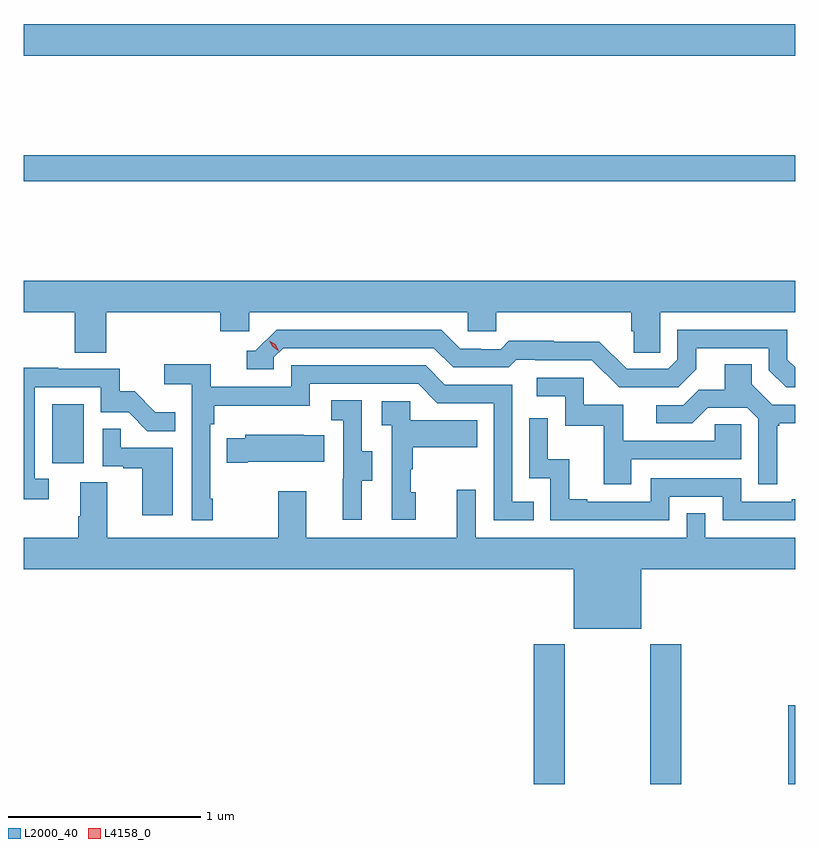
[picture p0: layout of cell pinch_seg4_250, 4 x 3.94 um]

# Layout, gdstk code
import gdstk
lib = gdstk.Library(unit=1e-6, precision=1e-09)
def R(c, l, rs):  # rectangles x0, y0, x1, y1
    for r in rs: c.add(gdstk.rectangle(r[:2], r[2:], *l))
def P(c, l, *ps):  # polygons
    for p in ps: c.add(gdstk.Polygon(p, *l))
L2000_40 = (2000, 40)
L4158_0 = (4158, 0)

pinch_seg4_250 = lib.new_cell('pinch_seg4_250')
R(pinch_seg4_250, L2000_40, [(953.699,810.358,953.859,811.084), (954.304,810.358,954.464,811.084), (955.019,810.358,955.054,810.766), (951.2,812.022,951.364,812.329), (951.054,813.484,955.054,813.62), (951.054,814.136,955.054,814.3)])
P(pinch_seg4_250, L2000_40, [(951.482,812.804),(952.073,812.804),(952.073,812.706),(952.224,812.706),(952.224,812.804),(953.355,812.804),(953.355,812.706),(953.505,812.706),(953.505,812.804),(954.203,812.804),(954.203,812.706),(954.217,812.706),(954.217,812.596),(954.354,812.596),(954.354,812.804),(955.054,812.804),(955.054,812.968),(951.054,812.968),(951.054,812.804),(951.317,812.804),(951.317,812.596),(951.482,812.596)],
  [(954.541,812.509),(954.541,812.619),(954.918,812.619),(954.918,812.505),(955.008,812.415),(955.054,812.415),(955.054,812.519),(955.014,812.559),(955.014,812.715),(954.444,812.715),(954.444,812.559),(954.396,812.511),(954.18,812.511),(954.038,812.653),(953.802,812.653),(953.802,812.656),(953.569,812.656),(953.527,812.613),(953.424,812.613),(953.424,812.616),(953.317,812.616),(953.218,812.715),(952.365,812.715),(952.254,812.604),(952.211,812.604),(952.211,812.508),(952.35,812.508),(952.35,812.571),(952.398,812.619),(953.181,812.619),(953.28,812.52),(953.569,812.52),(953.608,812.559),(953.707,812.559),(953.707,812.556),(954,812.556),(954.141,812.415),(954.447,812.415)],
  [(954.961,812.217),(954.973,812.217),(954.973,812.228),(955.054,812.228),(955.054,812.325),(954.936,812.325),(954.829,812.432),(954.829,812.534),(954.689,812.534),(954.689,812.402),(954.554,812.402),(954.474,812.322),(954.333,812.322),(954.333,812.229),(954.52,812.229),(954.601,812.31),(954.807,812.31),(954.864,812.253),(954.864,811.914),(954.961,811.914)],
  [(952.033,811.837),(952.02,811.837),(952.02,812.225),(952.04,812.225),(952.04,812.321),(952.536,812.321),(952.536,812.433),(953.1,812.433),(953.199,812.334),(953.49,812.334),(953.49,811.725),(953.699,811.725),(953.699,811.821),(953.586,811.821),(953.586,812.43),(953.236,812.43),(953.137,812.529),(952.44,812.529),(952.44,812.418),(952.022,812.418),(952.022,812.534),(951.783,812.534),(951.783,812.432),(951.924,812.432),(951.924,811.725),(952.033,811.725)],
  [(951.184,811.941),(951.111,811.941),(951.111,812.415),(951.453,812.415),(951.453,812.286),(951.597,812.286),(951.695,812.188),(951.839,812.188),(951.839,812.287),(951.735,812.287),(951.628,812.394),(951.552,812.394),(951.552,812.511),(951.233,812.511),(951.233,812.516),(951.054,812.516),(951.054,811.836),(951.184,811.836)],
  [(954.205,812.043),(954.774,812.043),(954.774,812.223),(954.637,812.223),(954.637,812.139),(954.163,812.139),(954.163,812.325),(953.958,812.325),(953.958,812.466),(953.715,812.466),(953.715,812.37),(953.862,812.37),(953.862,812.217),(954.061,812.217),(954.061,811.914),(954.205,811.914)],
  [(952.807,811.93),(952.861,811.93),(952.861,812.085),(952.806,812.085),(952.806,812.348),(952.647,812.348),(952.647,812.245),(952.71,812.245),(952.71,811.941),(952.709,811.941),(952.709,811.728),(952.807,811.728)],
  [(953.086,811.872),(953.061,811.872),(953.061,811.991),(953.071,811.991),(953.071,812.105),(953.405,812.105),(953.405,812.245),(953.058,812.245),(953.058,812.343),(952.911,812.343),(952.911,812.219),(952.962,812.219),(952.962,811.728),(953.086,811.728)],
  [(954.402,811.848),(954.678,811.848),(954.678,811.725),(955.054,811.725),(955.054,811.834),(955.037,811.834),(955.037,811.821),(954.774,811.821),(954.774,811.944),(954.306,811.944),(954.306,811.821),(953.977,811.821),(953.977,811.834),(953.882,811.834),(953.882,812.042),(953.772,812.042),(953.772,812.254),(953.676,812.254),(953.676,811.944),(953.784,811.944),(953.784,811.725),(954.402,811.725)],
  [(951.826,812.103),(951.557,812.103),(951.557,812.201),(951.462,812.201),(951.462,812.007),(951.569,812.007),(951.569,811.995),(951.668,811.995),(951.668,811.752),(951.826,811.752)],
  [(952.216,812.03),(952.613,812.03),(952.613,812.167),(952.505,812.167),(952.505,812.17),(952.203,812.17),(952.203,812.152),(952.105,812.152),(952.105,812.023),(952.216,812.023)],
  [(954.256,811.472),(955.054,811.472),(955.054,811.636),(954.588,811.636),(954.588,811.763),(954.492,811.763),(954.492,811.636),(953.397,811.636),(953.397,811.885),(953.3,811.885),(953.3,811.636),(952.519,811.636),(952.519,811.876),(952.372,811.876),(952.372,811.636),(951.487,811.636),(951.487,811.922),(951.347,811.922),(951.347,811.748),(951.335,811.748),(951.335,811.636),(951.054,811.636),(951.054,811.472),(953.906,811.472),(953.906,811.163),(954.256,811.163)])
P(pinch_seg4_250, L4158_0, [(952.374,812.606),(952.344,812.625),(952.327,812.657),(952.327,812.657),(952.327,812.657),(952.358,812.638),(952.375,812.606),(952.375,812.606)])

lib.write_gds('pinch_seg4_250.gds')
